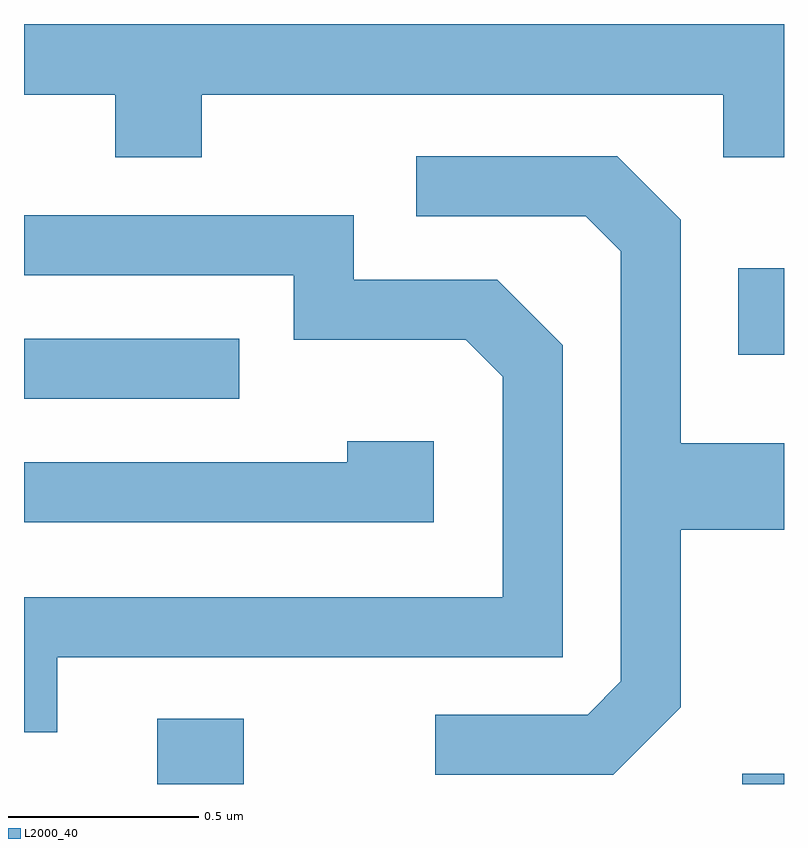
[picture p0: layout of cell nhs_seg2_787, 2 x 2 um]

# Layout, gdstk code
import gdstk
lib = gdstk.Library(unit=1e-6, precision=1e-09)
def R(c, l, rs):  # rectangles x0, y0, x1, y1
    for r in rs: c.add(gdstk.rectangle(r[:2], r[2:], *l))
def P(c, l, *ps):  # polygons
    for p in ps: c.add(gdstk.Polygon(p, *l))
L2000_40 = (2000, 40)

nhs_seg2_787 = lib.new_cell('nhs_seg2_787')
R(nhs_seg2_787, L2000_40, [(190.961,1079.802,191.189,1079.974), (192.501,1079.802,192.611,1079.829), (190.611,1080.816,191.178,1080.974), (192.491,1080.931,192.611,1081.159)])
P(nhs_seg2_787, L2000_40, [(191.079,1081.616),(192.451,1081.616),(192.451,1081.451),(192.611,1081.451),(192.611,1081.802),(190.611,1081.802),(190.611,1081.616),(190.851,1081.616),(190.851,1081.451),(191.079,1081.451)],
  [(192.339,1080.004),(192.339,1080.471),(192.611,1080.471),(192.611,1080.699),(192.339,1080.699),(192.339,1081.287),(192.172,1081.454),(191.643,1081.454),(191.643,1081.296),(192.089,1081.296),(192.181,1081.204),(192.181,1080.072),(192.094,1079.984),(191.693,1079.984),(191.693,1079.826),(192.162,1079.826)],
  [(190.699,1080.136),(192.029,1080.136),(192.029,1080.957),(191.857,1081.129),(191.479,1081.129),(191.479,1081.299),(190.611,1081.299),(190.611,1081.141),(191.321,1081.141),(191.321,1080.971),(191.774,1080.971),(191.871,1080.874),(191.871,1080.294),(190.611,1080.294),(190.611,1079.938),(190.699,1079.938)],
  [(191.689,1080.704),(191.461,1080.704),(191.461,1080.649),(190.611,1080.649),(190.611,1080.491),(191.689,1080.491)])

lib.write_gds('nhs_seg2_787.gds')
